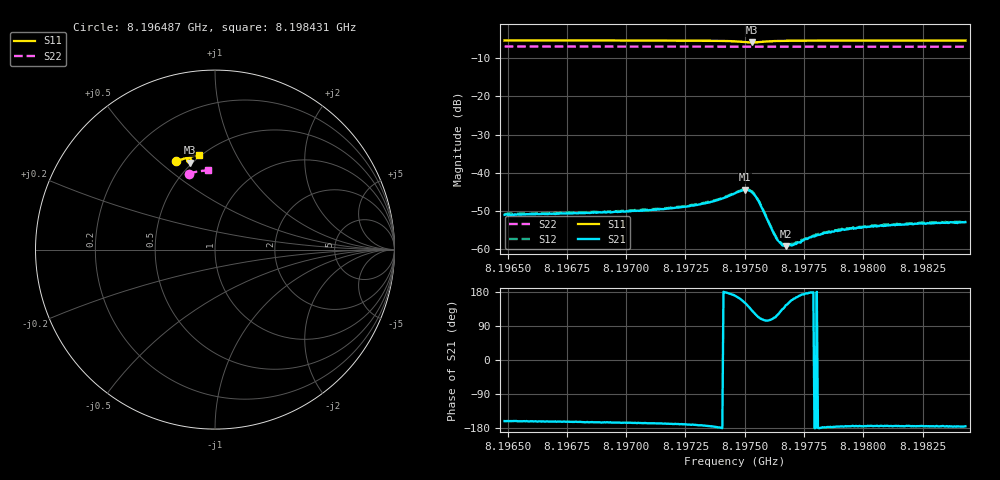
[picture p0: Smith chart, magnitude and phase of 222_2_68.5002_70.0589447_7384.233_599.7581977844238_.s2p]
#  HZ  S  RI  R  50.00
! Rohde & Schwarz Vector Network Analyzer
! Rohde-Schwarz,ZNB20-2Port,1311601062101988,3.16
! Created: UTC 3/20/2024, 5:13:41 PM
! freq[Hz]  re:S11  im:S11  re:S21  im:S21  re:S12  im:S12  re:S22  im:S22
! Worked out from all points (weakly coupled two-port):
!   401 points, 8.196487 GHz to 8.198431 GHz, reference 50 ohm
!   highest |S21| = -44.45 dB at 8.197503 GHz (marker M1); lowest = -59.2 dB at 8.197673 GHz (marker M2)
!   lowest |S11| = -5.9 dB at 8.197532 GHz (marker M3), VSWR 3.04, Z = 24.2 + j31.6 ohm
!   |S11| at or under -10 dB: nowhere
!   |S22| runs from -7.1 to -7.0 dB; largest |S21 - S12| = 0.0003
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8.1964873e9  -0.2162 0.4911  -0.00267 -0.000909  -0.00276 -0.000822  -0.1463 0.4226
8.1968128e9  -0.1938 0.4997  -0.00284 -0.00084  -0.00293 -0.000733  -0.1286 0.4278
8.1971383e9  -0.1701 0.5074  -0.00323 -0.00073  -0.00331 -0.000613  -0.1108 0.432
8.1972452e9  -0.1611 0.5096  -0.00354 -0.000644  -0.00364 -0.000469  -0.1049 0.4334
8.1973229e9  -0.1536 0.5105  -0.00393 -0.000494  -0.00401 -0.000354  -0.1005 0.4343
8.1973958e9  -0.1448 0.51  -0.00452 -0.000143  -0.00457 7.07e-05  -0.0964 0.4349
8.1974589e9  -0.1353 0.5046  -0.00529 0.000983  -0.00537 0.00124  -0.0928 0.4354
8.1975027e9  -0.1328 0.4927  -0.00518 0.00301  -0.00514 0.00326  -0.0904 0.4355
8.1975172e9  -0.1357 0.4881  -0.00452 0.00375  -0.00447 0.00403  -0.0897 0.4356
8.1975318e9  -0.1409 0.4851  -0.0035 0.00423  -0.00345 0.00451  -0.0891 0.4357
8.1975464e9  -0.1468 0.4853  -0.00243 0.00424  -0.00229 0.00443  -0.0885 0.4358
8.197561e9  -0.1517 0.488  -0.00152 0.00383  -0.00139 0.00397  -0.0878 0.436
8.1976144e9  -0.1544 0.502  -0.000552 0.00174  -0.000463 0.00179  -0.0849 0.4369
8.1976338e9  -0.1527 0.5052  -0.000616 0.00124  -0.000569 0.0013  -0.0838 0.4371
8.1976533e9  -0.1507 0.5078  -0.000763 0.000914  -0.000747 0.000962  -0.0827 0.4373
8.1976727e9  -0.1487 0.5099  -0.000894 0.000637  -0.000882 0.000689  -0.0816 0.4376
8.1977067e9  -0.1452 0.5123  -0.00109 0.000362  -0.00108 0.00045  -0.0796 0.4379
8.1977844e9  -0.1377 0.5159  -0.00146 5.73e-05  -0.00147 0.000107  -0.0752 0.4387
8.1978427e9  -0.1327 0.5178  -0.00165 -6.2e-05  -0.00167 -2.01e-05  -0.0719 0.4391
8.1979205e9  -0.1263 0.5197  -0.00179 -0.000139  -0.00185 -8.25e-05  -0.0676 0.4396
8.1981099e9  -0.1118 0.5231  -0.00205 -0.000191  -0.00213 -0.000113  -0.0568 0.4409
8.1984306e9  -0.0884 0.5274  -0.00225 -0.000201  -0.00229 -7.45e-05  -0.0386 0.4422
